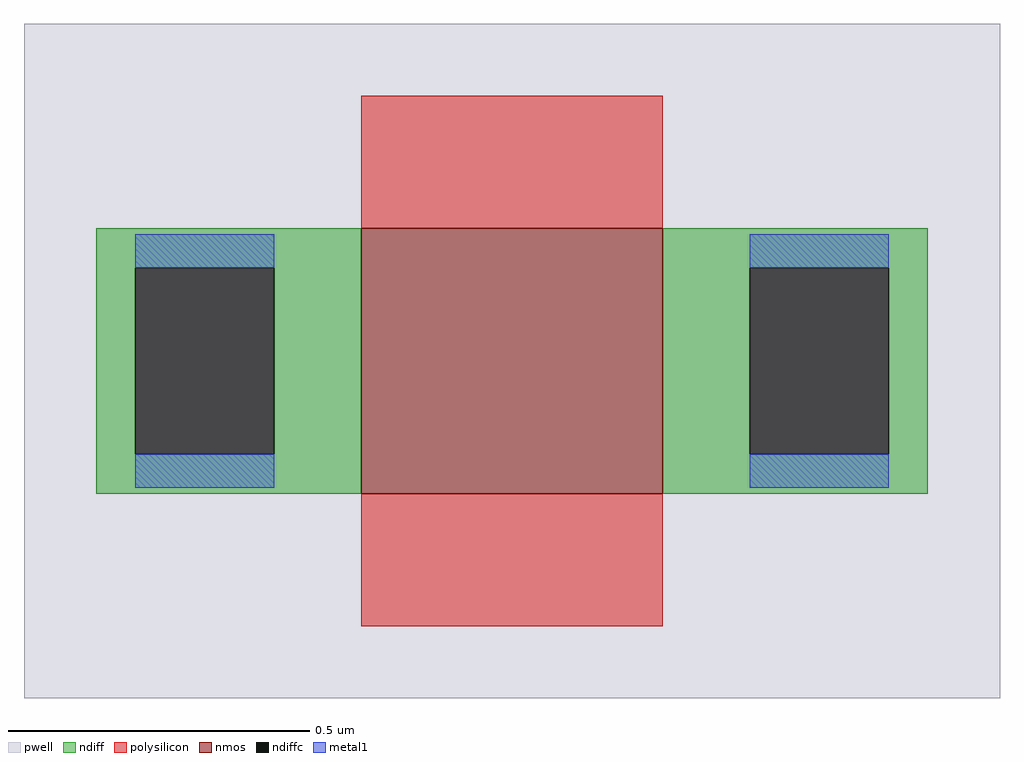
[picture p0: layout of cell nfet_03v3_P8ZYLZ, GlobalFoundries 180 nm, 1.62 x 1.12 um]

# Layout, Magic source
magic
tech gf180mcuD
magscale 1 10
<< pwell >>
rect -162 -112 162 112
<< nmos >>
rect -50 -44 50 44
<< ndiff >>
rect -138 31 -50 44
rect -138 -31 -125 31
rect -79 -31 -50 31
rect -138 -44 -50 -31
rect 50 31 138 44
rect 50 -31 79 31
rect 125 -31 138 31
rect 50 -44 138 -31
<< ndiffc >>
rect -125 -31 -79 31
rect 79 -31 125 31
<< polysilicon >>
rect -50 44 50 88
rect -50 -88 50 -44
<< metal1 >>
rect -125 31 -79 42
rect -125 -42 -79 -31
rect 79 31 125 42
rect 79 -42 125 -31
<< properties >>
string gencell nfet_03v3
string library gf180mcu
string parameters w 0.44 l 0.5 m 1 nf 1 diffcov 100 polycov 100 guard 0 glc 1 grc 1 gtc 0 gbc 0 tbcov 100 rlcov 100 topc 0 botc 0 poverlap 0 doverlap 1 lmin 0.28 wmin 0.22 class mosfet full_metal 0 compatible {nfet_03v3 nfet_06v0 nfet_06v0_nvt}
<< end >>
